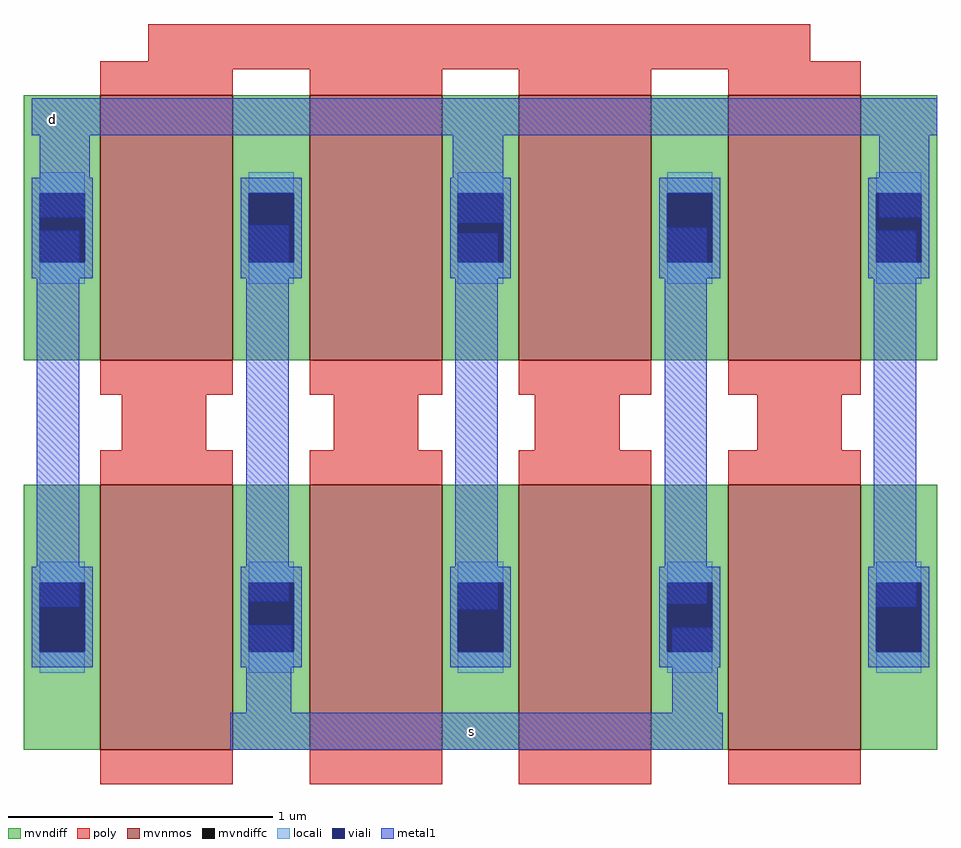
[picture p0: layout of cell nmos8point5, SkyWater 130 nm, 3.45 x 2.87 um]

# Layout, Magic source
magic
tech sky130A
magscale 1 2
<< poly >>
rect 94 540 594 574
rect 74 240 138 306
rect 234 242 298 308
rect 386 240 450 306
rect 554 238 618 304
<< metal1 >>
rect 6 490 690 518
rect 12 428 50 490
rect 324 424 362 490
rect 646 428 684 490
rect 10 134 42 418
rect 168 138 200 422
rect 326 132 358 416
rect 484 136 516 420
rect 642 134 674 418
rect 168 54 202 120
rect 490 54 524 118
rect 156 26 528 54
use sky130_fd_pr__nfet_g5v0d10v5_ZNRHR4  sky130_fd_pr__nfet_g5v0d10v5_ZNRHR4_0
transform 1 0 345 0 1 273
box -345 -273 345 273
<< labels >>
flabel metal1 22 502 22 502 0 FreeSans 800 0 0 0 d
flabel metal1 338 40 338 40 0 FreeSans 800 0 0 0 s
<< end >>

# cell sky130_fd_pr__nfet_g5v0d10v5_ZNRHR4: kit device sky130_fd_pr__nfet_g5v0d10v5, w 1 l 0.50 m 2 nf 4 diffcov 30 polycov 100 guard 0 glc 0 grc 0 gtc 0 gbc 0 tbcov 100 rlcov 100 topc 0 botc 0 poverlap 0 doverlap 1 lmin 0.50 wmin 0.42 compatible {sky130_fd_pr__nfet_01v8 sky130_fd_pr__nfet_01v8_lvt sky130_fd_bs_flash__special_sonosfet_star sky130_fd_pr__nfet_g5v0d10v5 sky130_fd_pr__nfet_05v0_nvt sky130_fd_pr__nfet_03v3_nvt} full_metal 0 viasrc 30 viadrn 30 viagate 100 viagb 0 viagr 0 viagl 0 viagt 0
